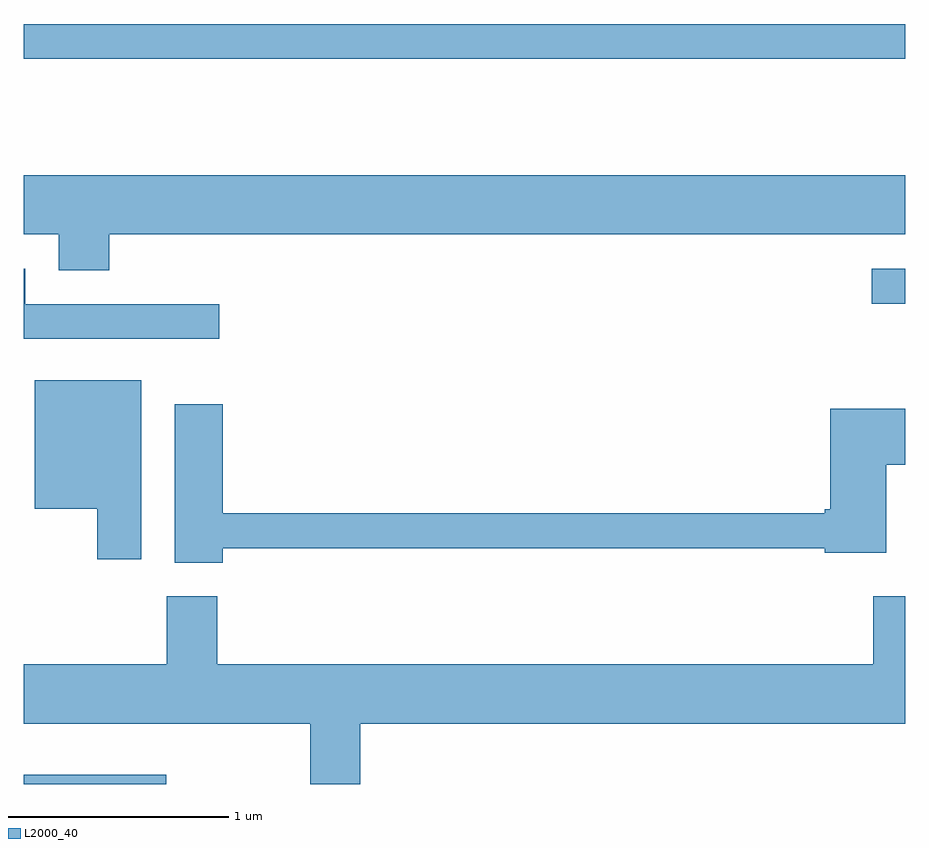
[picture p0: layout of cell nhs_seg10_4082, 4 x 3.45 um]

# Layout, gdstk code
import gdstk
lib = gdstk.Library(unit=1e-6, precision=1e-09)
def R(c, l, rs):  # rectangles x0, y0, x1, y1
    for r in rs: c.add(gdstk.rectangle(r[:2], r[2:], *l))
def P(c, l, *ps):  # polygons
    for p in ps: c.add(gdstk.Polygon(p, *l))
L2000_40 = (2000, 40)

nhs_seg10_4082 = lib.new_cell('nhs_seg10_4082')
R(nhs_seg10_4082, L2000_40, [(305.611,2122.522,306.258,2122.564), (309.458,2124.701,309.611,2124.859), (305.611,2125.811,309.611,2125.969)])
P(nhs_seg10_4082, L2000_40, [(305.999,2125.016),(309.611,2125.016),(309.611,2125.284),(305.611,2125.284),(305.611,2125.016),(305.771,2125.016),(305.771,2124.851),(305.999,2124.851)],
  [(306.498,2124.699),(305.619,2124.699),(305.619,2124.859),(305.611,2124.859),(305.611,2124.541),(306.498,2124.541)],
  [(306.144,2124.354),(305.661,2124.354),(305.661,2123.771),(305.946,2123.771),(305.946,2123.541),(306.144,2123.541)],
  [(306.514,2123.591),(309.246,2123.591),(309.246,2123.571),(309.524,2123.571),(309.524,2123.971),(309.611,2123.971),(309.611,2124.224),(309.271,2124.224),(309.271,2123.769),(309.246,2123.769),(309.246,2123.749),(306.514,2123.749),(306.514,2124.244),(306.296,2124.244),(306.296,2123.526),(306.514,2123.526)],
  [(307.139,2122.796),(309.611,2122.796),(309.611,2123.374),(309.466,2123.374),(309.466,2123.064),(306.489,2123.064),(306.489,2123.374),(306.261,2123.374),(306.261,2123.064),(305.611,2123.064),(305.611,2122.796),(306.911,2122.796),(306.911,2122.522),(307.139,2122.522)])

lib.write_gds('nhs_seg10_4082.gds')
